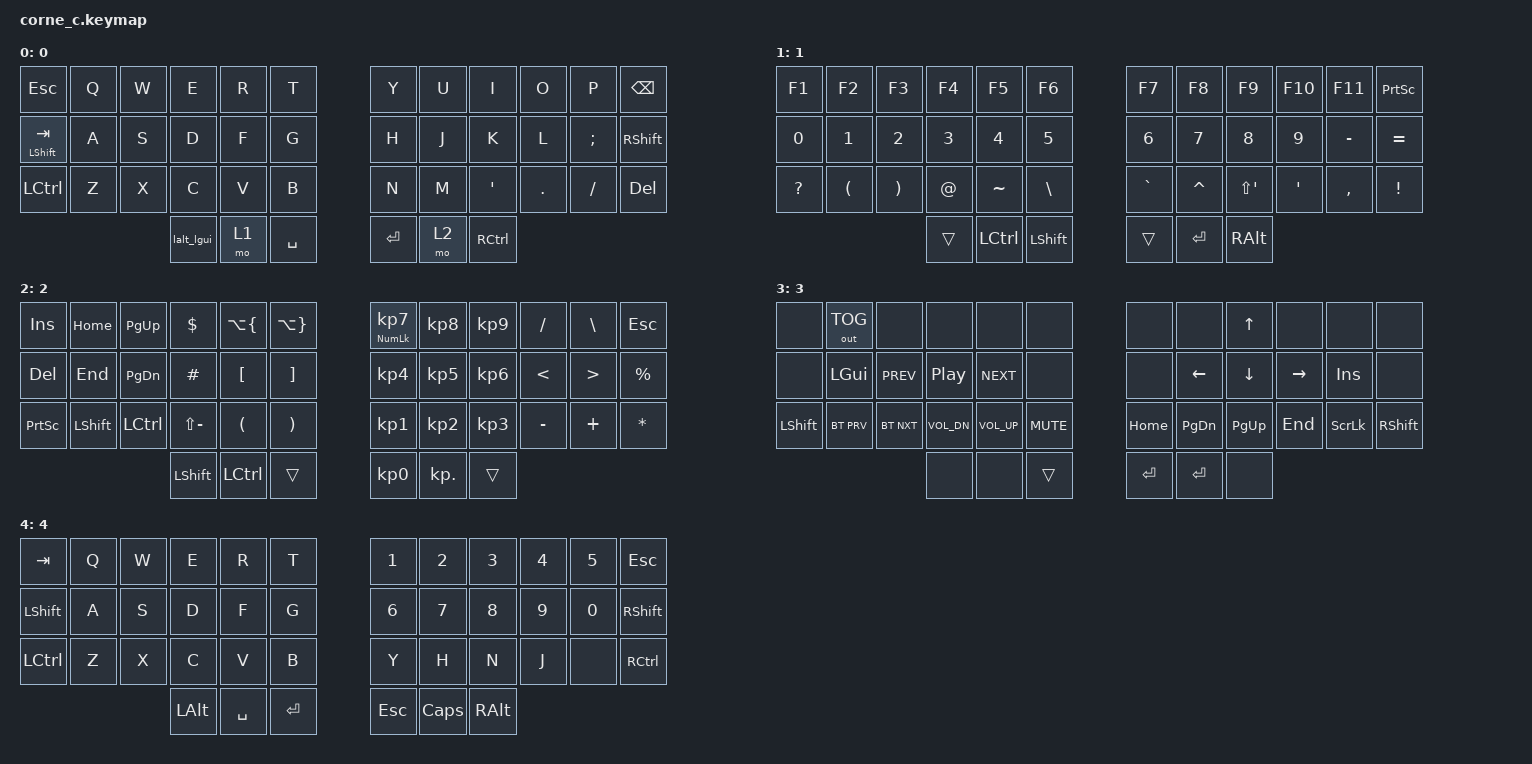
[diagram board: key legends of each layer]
#include <behaviors.dtsi>
#include <dt-bindings/zmk/bt.h>
#include <dt-bindings/zmk/keys.h>
#include <dt-bindings/zmk/outputs.h>

/ {
    behaviors {
        lalt_lgui: lalt_lgui {
            compatible = "zmk,behavior-tap-dance";
            #binding-cells = <0>;
            tapping-term-ms = <200>;
            bindings = <&kp LALT>, <&kp LGUI>;
        };
    };

    combos {
        compatible = "zmk,combos";

        combo_cut {
            timeout-ms = <40>;
            bindings = <&kp X>;
            key-positions = <3 4>;
            layers = <0>;
        };

        combo_copy {
            timeout-ms = <40>;
            bindings = <&kp C>;
            key-positions = <15 16>;
            layers = <0>;
        };

        combo_paste {
            timeout-ms = <40>;
            bindings = <&kp V>;
            key-positions = <17 16>;
            layers = <0>;
        };

        combo_capslock {
            timeout-ms = <40>;
            bindings = <&kp CLCK>;
            key-positions = <0 11>;
            layers = <0>;
        };

        combo_capsword {
            timeout-ms = <40>;
            bindings = <&caps_word>;
            key-positions = <29 30>;
            layers = <0>;
        };

        combo_nav_toggle {
            timeout-ms = <40>;
            bindings = <&tog 3>;
            key-positions = <9 10 11>;
            layers = <0 1 2>;
        };

        Gamemod_toggle {
            bindings = <&tog 4>;
            key-positions = <5 17 18 6>;
            timeout-ms = <100>;
            require-prior-idle-ms = <150>;
            layers = <0 1 2 3 4>;
        };
    };

    keymap {
        compatible = "zmk,keymap";

        default_layer {
            label = "0";
            bindings = <
&kp ESCAPE   &kp Q  &kp W  &kp E  &kp R       &kp T        &kp Y      &kp U      &kp I    &kp O    &kp P     &kp BSPC
&mt LSHFT TAB &kp A  &kp S  &kp D  &kp F       &kp G        &kp H      &kp J      &kp K    &kp L    &kp SEMI  &kp RSHFT
&kp LCTRL    &kp Z  &kp X  &kp C  &kp V       &kp B        &kp N      &kp M      &kp SQT  &kp DOT  &kp FSLH  &kp DEL
                             &lalt_lgui  &mo 1  &kp SPACE    &kp ENTER  &mo 2  &kp RCTRL
            >;
        };

        num_layer {
            label = "1";
            bindings = <
&kp F1        &kp F2        &kp F3                &kp F4        &kp F5        &kp F6            &kp F7     &kp F8     &kp F9         &kp F10  &kp F11    &kp PRINTSCREEN
&kp N0        &kp N1        &kp N2                &kp N3        &kp N4        &kp N5            &kp N6     &kp N7     &kp N8         &kp N9   &kp MINUS  &kp EQUAL
&kp QUESTION  &kp LPAR      &kp RPAR              &kp AT_SIGN   &kp TILDE     &kp BSLH          &kp GRAVE  &kp CARET  &kp LS(SQT)    &kp SQT  &kp COMMA  &kp EXCL
                                            &trans         &kp LCTRL     &kp LSHFT         &trans     &kp RET    &kp RALT
            >;
        };

        fr_accents_signs {
            label = "2";
            bindings = <
&kp INSERT       &kp HOME        &kp PAGE_UP    &kp DLLR        &kp LA(LBRC)  &kp LA(RBRC)    &mt KP_NUMLOCK KP_NUMBER_7  &kp KP_NUMBER_8  &kp KP_NUMBER_9  &kp FSLH   &kp BSLH  &kp ESC
&kp DEL          &kp END         &kp PAGE_DOWN  &kp HASH        &kp LBKT      &kp RBKT        &kp KP_NUMBER_4             &kp KP_NUMBER_5  &kp KP_NUMBER_6  &kp LT     &kp GT    &kp PRCNT
&kp PRINTSCREEN  &kp LSHFT       &kp LCTRL      &kp LS(MINUS)   &kp LPAR      &kp RPAR        &kp KP_NUMBER_1             &kp KP_NUMBER_2  &kp KP_NUMBER_3  &kp MINUS  &kp PLUS  &kp STAR
                                               &kp LSHFT       &kp LCTRL     &trans           &kp KP_NUMBER_0             &kp KP_DOT       &trans
            >;
        };

        nav_layer {
            label = "3";
            bindings = <
&none      &out OUT_TOG  &none       &none         &none         &none         &none      &none      &kp UP     &none      &none     &none
&none      &kp LGUI      &kp C_PREV  &kp C_PP      &kp C_NEXT    &none         &none      &kp LEFT   &kp DOWN   &kp RIGHT  &kp INS   &none
&kp LSHFT  &bt BT_PRV    &bt BT_NXT  &kp C_VOL_DN  &kp C_VOL_UP  &kp K_MUTE    &kp HOME   &kp PG_DN  &kp PG_UP  &kp END    &kp SLCK  &kp RSHFT
                                     &none         &none         &trans        &kp ENTER  &kp RET    &none
            >;
        };

        game_mod {
            label = "4";
            bindings = <
&kp TAB    &kp Q  &kp W  &kp E     &kp R      &kp T        &kp N1   &kp N2        &kp N3         &kp N4  &kp N5  &kp ESC
&kp LSHFT  &kp A  &kp S  &kp D     &kp F      &kp G        &kp N6   &kp N7        &kp N8         &kp N9  &kp N0  &kp RSHFT
&kp LCTRL  &kp Z  &kp X  &kp C     &kp V      &kp B        &kp Y    &kp H         &kp N          &kp J   &none   &kp RCTRL
                             &kp LALT  &kp SPACE  &kp ENTER    &kp ESC  &kp CAPSLOCK  &kp RALT
            >;
        };
    };
};

&soft_off {
    /delete-property/ split-peripheral-off-on-press;
    hold-time-ms = <3000>;
};
